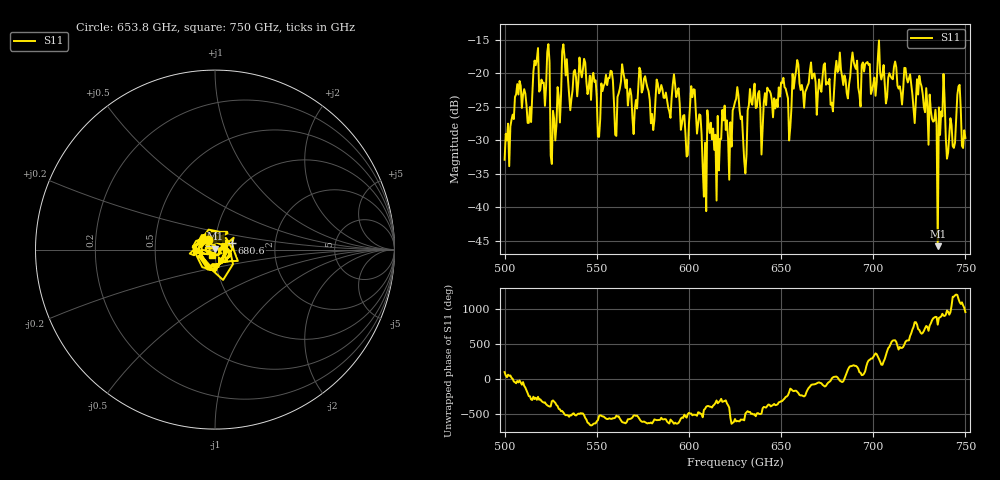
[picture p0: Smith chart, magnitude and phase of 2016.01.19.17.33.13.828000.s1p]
!Created with skrf (http://scikit-rf.org).
# GHz S RI R 50.0
!freq ReS11 ImS11
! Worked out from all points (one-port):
!   401 points, 500 GHz to 750 GHz, reference 50 ohm
!   lowest |S11| = -45.8 dB at 735 GHz (marker M1), VSWR 1.01, Z = 50.3 + j0.433 ohm
!   |S11| at or under -10 dB: start of sweep to end of sweep
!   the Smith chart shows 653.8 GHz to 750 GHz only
!   S11 on the Smith chart (normalised r, x): 653.8 GHz: 0.92, +0.10; 680.6 GHz: 1.21, +0.09; 750 GHz: 0.96, -0.05
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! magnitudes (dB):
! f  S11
! 500 GHz  -32.9
! 507.5 GHz  -23.2
! 513.8 GHz  -25.1
! 516.9 GHz  -18.8
! 523.1 GHz  -16.9
! 526.2 GHz  -25.6
! 531.2 GHz  -16.8
! 542.5 GHz  -19.4
! 551.2 GHz  -29.5
! 562.5 GHz  -22.3
! 593.8 GHz  -22.8
! 598.8 GHz  -32.5
! 602.5 GHz  -22.4
! 608.1 GHz  -38.4
! 611.2 GHz  -28.9
! 616.2 GHz  -34.5
! 625 GHz  -24.3
! 630 GHz  -33.1
! 634.4 GHz  -24.7
! 653.8 GHz  -23.8
! 656.2 GHz  -20.1
! 677.5 GHz  -24.4
! 680.6 GHz  -19.8
! 687.5 GHz  -20.5
! 718.8 GHz  -21.4
! 735 GHz  -45.8
! 746.2 GHz  -22.0
! 750 GHz  -29.7
